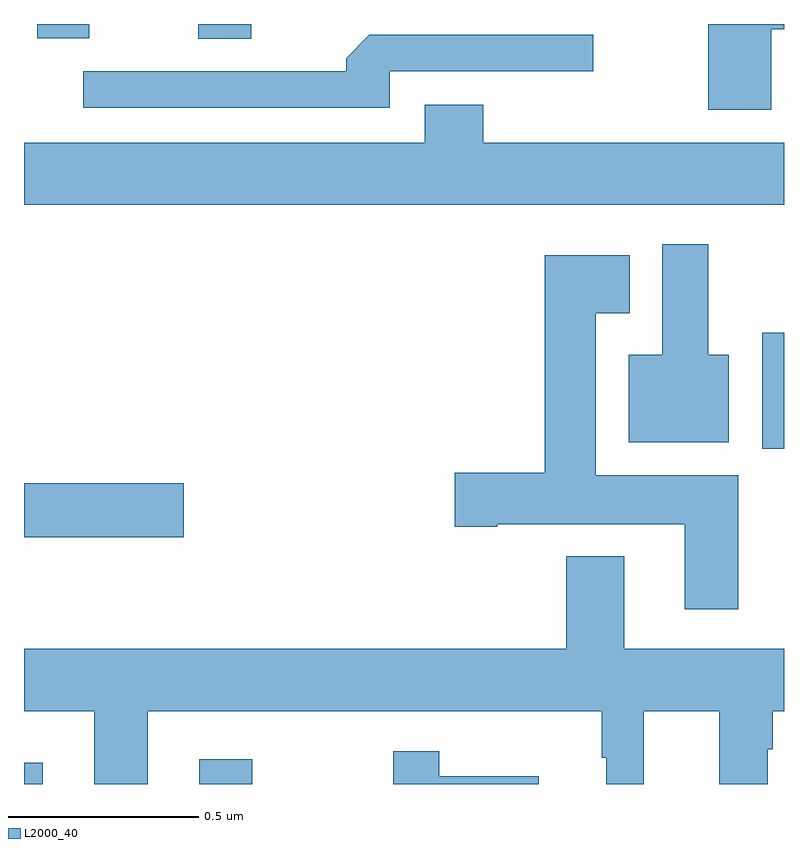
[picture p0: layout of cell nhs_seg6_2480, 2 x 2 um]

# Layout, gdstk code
import gdstk
lib = gdstk.Library(unit=1e-6, precision=1e-09)
def R(c, l, rs):  # rectangles x0, y0, x1, y1
    for r in rs: c.add(gdstk.rectangle(r[:2], r[2:], *l))
def P(c, l, *ps):  # polygons
    for p in ps: c.add(gdstk.Polygon(p, *l))
L2000_40 = (2000, 40)

nhs_seg6_2480 = lib.new_cell('nhs_seg6_2480')
R(nhs_seg6_2480, L2000_40, [(144,924.5,144.049,924.556), (144.461,924.5,144.601,924.565), (144,925.15,144.421,925.292), (145.943,925.382,146,925.687), (144.458,926.461,144.598,926.5), (144.035,926.463,144.172,926.5)])
P(nhs_seg6_2480, L2000_40, [(145.966,926.486),(146,926.486),(146,926.5),(145.801,926.5),(145.801,926.274),(145.966,926.274)],
  [(144.963,926.376),(145.498,926.376),(145.498,926.472),(144.909,926.472),(144.848,926.41),(144.848,926.376),(144.156,926.376),(144.156,926.28),(144.963,926.28)],
  [(146,926.188),(145.208,926.188),(145.208,926.287),(145.055,926.287),(145.055,926.188),(144,926.188),(144,926.024),(146,926.024)],
  [(145.855,925.63),(145.801,925.63),(145.801,925.921),(145.679,925.921),(145.679,925.63),(145.592,925.63),(145.592,925.4),(145.855,925.4)],
  [(145.879,925.312),(145.504,925.312),(145.504,925.739),(145.594,925.739),(145.594,925.891),(145.37,925.891),(145.37,925.319),(145.134,925.319),(145.134,925.177),(145.246,925.177),(145.246,925.184),(145.739,925.184),(145.739,924.96),(145.879,924.96)],
  [(144.325,924.692),(145.521,924.692),(145.521,924.569),(145.532,924.569),(145.532,924.5),(145.631,924.5),(145.631,924.692),(145.829,924.692),(145.829,924.5),(145.957,924.5),(145.957,924.591),(145.97,924.591),(145.97,924.692),(146,924.692),(146,924.856),(145.579,924.856),(145.579,925.099),(145.427,925.099),(145.427,924.856),(144,924.856),(144,924.692),(144.185,924.692),(144.185,924.5),(144.325,924.5)],
  [(145.354,924.52),(145.093,924.52),(145.093,924.586),(144.972,924.586),(144.972,924.5),(145.354,924.5)])

lib.write_gds('nhs_seg6_2480.gds')
